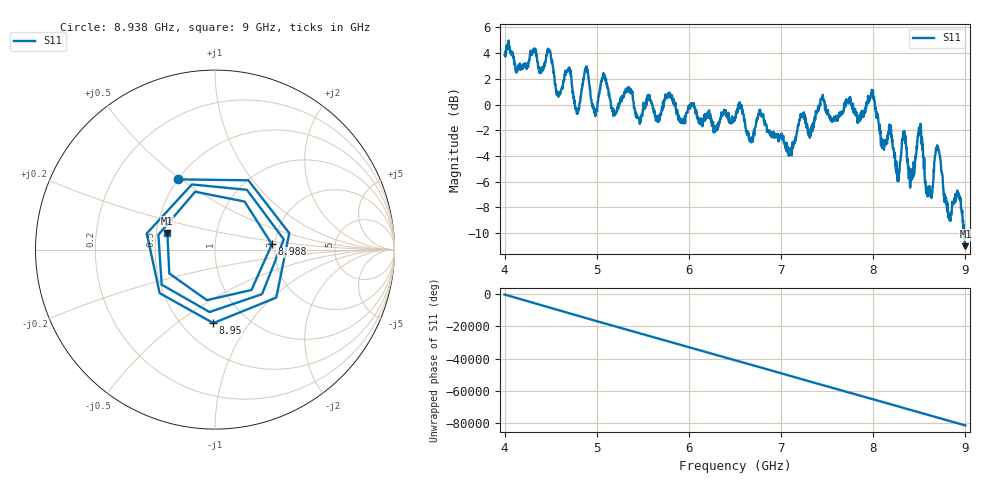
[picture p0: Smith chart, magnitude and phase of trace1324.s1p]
! Created with skrf 1.8.0 (http://scikit-rf.org).
# Hz S RI R 50.0
!freq ReS11 ImS11
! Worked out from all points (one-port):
!   1601 points, 4 GHz to 9 GHz, reference 50 ohm
!   lowest |S11| = -11.0 dB at 9 GHz (marker M1), VSWR 1.78, Z = 28.6 + j5.78 ohm
!   |S11| at or under -10 dB: 8.983777 GHz to 8.985943 GHz (2.166 MHz wide, 0.0241 % of centre); 8.988396 GHz to end of sweep
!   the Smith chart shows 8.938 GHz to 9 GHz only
!   S11 on the Smith chart (normalised r, x): 8.938 GHz: 0.50, +0.49; 8.95 GHz: 0.70, -0.69; 8.988 GHz: 1.92, +0.13; 9 GHz: 0.57, +0.12
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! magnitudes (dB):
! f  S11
! 4 GHz  3.8
! 4.478 GHz  4.1
! 4.625 GHz  1.4
! 4.697 GHz  2.9
! 4.791 GHz  -0.4
! 4.888 GHz  3.0
! 4.978 GHz  -0.7
! 5.075 GHz  2.3
! 5.25 GHz  0.1
! 5.875 GHz  -0.4
! 6.5 GHz  -1.0
! 7.125 GHz  -2.9
! 7.444 GHz  0.6
! 7.75 GHz  0.6
! 7.991 GHz  1.0
! 8.106 GHz  -2.8
! 8.266 GHz  -6.0
! 8.338 GHz  -2.1
! 8.375 GHz  -4.7
! 8.422 GHz  -5.8
! 8.506 GHz  -1.9
! 8.597 GHz  -6.8
! 8.7 GHz  -3.5
! 8.825 GHz  -8.8
! 8.938 GHz  -7.1
! 8.95 GHz  -7.8
! 8.988 GHz  -9.9
! 9 GHz  -11.0
